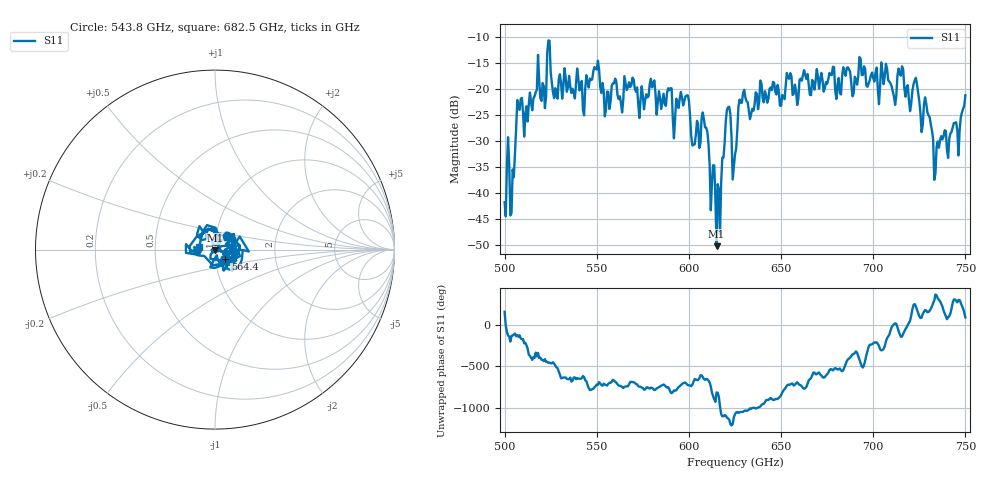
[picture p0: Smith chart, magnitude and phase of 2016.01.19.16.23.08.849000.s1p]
!Created with skrf (http://scikit-rf.org).
# GHz S RI R 50.0
!freq ReS11 ImS11
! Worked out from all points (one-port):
!   401 points, 500 GHz to 750 GHz, reference 50 ohm
!   lowest |S11| = -50.3 dB at 615 GHz (marker M1), VSWR 1.01, Z = 50 - j0.305 ohm
!   |S11| at or under -10 dB: start of sweep to end of sweep
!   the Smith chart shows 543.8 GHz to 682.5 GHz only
!   S11 on the Smith chart (normalised r, x): 543.8 GHz: 1.12, +0.18; 564.4 GHz: 1.11, -0.12; 682.5 GHz: 0.84, +0.03
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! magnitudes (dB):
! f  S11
! 500 GHz  -41.8
! 504.4 GHz  -35.5
! 508.1 GHz  -24.0
! 521.2 GHz  -19.4
! 524.4 GHz  -10.6
! 527.5 GHz  -19.8
! 531.2 GHz  -21.8
! 543.8 GHz  -19.8
! 550 GHz  -16.2
! 562.5 GHz  -21.4
! 564.4 GHz  -22.1
! 593.8 GHz  -22.4
! 598.8 GHz  -21.2
! 602.5 GHz  -30.7
! 608.1 GHz  -25.8
! 615 GHz  -50.3
! 616.2 GHz  -39.4
! 621.2 GHz  -23.5
! 625 GHz  -32.6
! 628.8 GHz  -22.6
! 656.2 GHz  -21.1
! 682.5 GHz  -21.0
! 687.5 GHz  -16.6
! 715 GHz  -17.4
! 718.8 GHz  -19.2
! 723.1 GHz  -17.8
! 734.4 GHz  -31.1
! 750 GHz  -21.2
